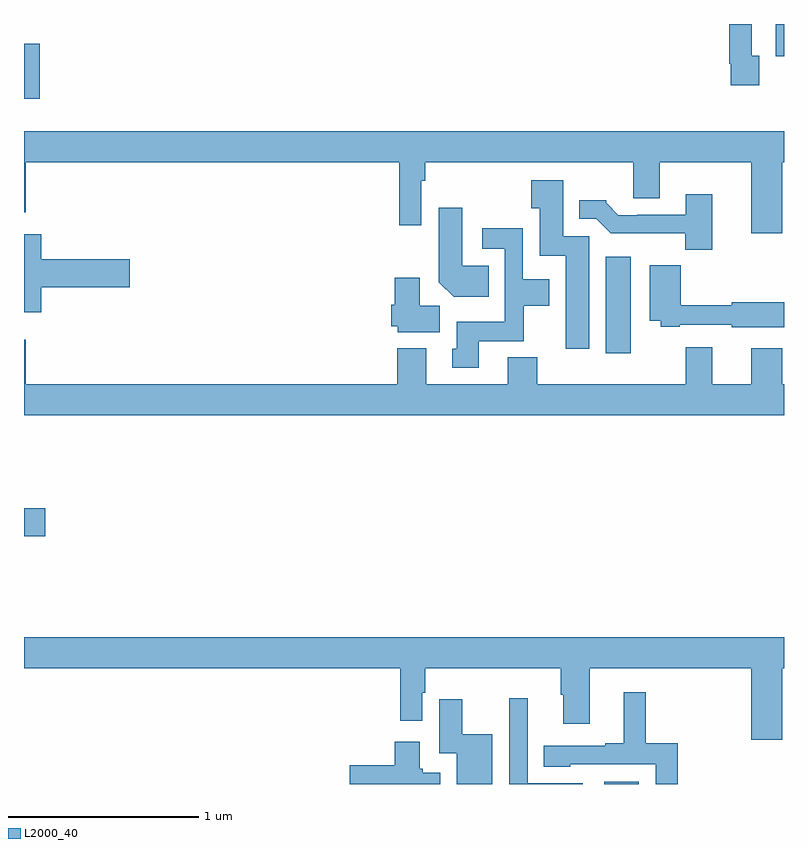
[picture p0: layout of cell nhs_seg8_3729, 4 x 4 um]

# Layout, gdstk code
import gdstk
lib = gdstk.Library(unit=1e-6, precision=1e-09)
def R(c, l, rs):  # rectangles x0, y0, x1, y1
    for r in rs: c.add(gdstk.rectangle(r[:2], r[2:], *l))
def P(c, l, *ps):  # polygons
    for p in ps: c.add(gdstk.Polygon(p, *l))
L2000_40 = (2000, 40)

nhs_seg8_3729 = lib.new_cell('nhs_seg8_3729')
R(nhs_seg8_3729, L2000_40, [(344.054,1107.9,344.236,1107.913), (341,1109.204,341.113,1109.351), (344.063,1110.168,344.194,1110.676), (341,1111.506,341.084,1111.795)])
P(nhs_seg8_3729, L2000_40, [(344.869,1111.734),(344.829,1111.734),(344.829,1111.9),(344.713,1111.9),(344.713,1111.69),(344.721,1111.69),(344.721,1111.578),(344.869,1111.578)],
  [(345,1111.9),(344.918,1111.9),(344.918,1111.898),(344.957,1111.898),(344.957,1111.73),(345,1111.73)],
  [(344.992,1111.172),(345,1111.172),(345,1111.336),(341,1111.336),(341,1110.909),(341.009,1110.909),(341.009,1111.172),(342.976,1111.172),(342.976,1110.84),(343.092,1110.84),(343.092,1111.076),(343.112,1111.076),(343.112,1111.172),(344.207,1111.172),(344.207,1110.982),(344.347,1110.982),(344.347,1111.172),(344.828,1111.172),(344.828,1110.798),(344.992,1110.798)],
  [(343.975,1110.783),(343.837,1110.783),(343.837,1111.078),(343.669,1111.078),(343.669,1110.931),(343.715,1110.931),(343.715,1110.68),(343.85,1110.68),(343.85,1110.192),(343.975,1110.192)],
  [(344.623,1111.003),(344.483,1111.003),(344.483,1110.897),(344.227,1110.897),(344.227,1110.894),(344.128,1110.894),(344.064,1110.958),(344.064,1110.973),(343.922,1110.973),(343.922,1110.876),(344.013,1110.876),(344.089,1110.8),(344.481,1110.8),(344.481,1110.713),(344.623,1110.713)],
  [(343.445,1110.628),(343.306,1110.628),(343.306,1110.934),(343.184,1110.934),(343.184,1110.542),(343.262,1110.464),(343.445,1110.464)],
  [(343.393,1110.23),(343.629,1110.23),(343.629,1110.416),(343.765,1110.416),(343.765,1110.556),(343.626,1110.556),(343.626,1110.826),(343.413,1110.826),(343.413,1110.717),(343.53,1110.717),(343.53,1110.334),(343.277,1110.334),(343.277,1110.192),(343.253,1110.192),(343.253,1110.09),(343.393,1110.09)],
  [(341.092,1110.515),(341.557,1110.515),(341.557,1110.662),(341.092,1110.662),(341.092,1110.793),(341,1110.793),(341,1110.383),(341.092,1110.383)],
  [(345,1110.435),(344.724,1110.435),(344.724,1110.419),(344.456,1110.419),(344.456,1110.631),(344.294,1110.631),(344.294,1110.338),(344.352,1110.338),(344.352,1110.306),(344.452,1110.306),(344.452,1110.318),(344.724,1110.318),(344.724,1110.305),(345,1110.305)],
  [(343.189,1110.416),(343.084,1110.416),(343.084,1110.565),(342.95,1110.565),(342.95,1110.423),(342.932,1110.423),(342.932,1110.309),(342.966,1110.309),(342.966,1110.278),(343.189,1110.278)],
  [(345,1110.004),(344.992,1110.004),(344.992,1110.193),(344.828,1110.193),(344.828,1110.004),(344.623,1110.004),(344.623,1110.199),(344.483,1110.199),(344.483,1110.004),(343.7,1110.004),(343.7,1110.145),(343.547,1110.145),(343.547,1110.004),(343.117,1110.004),(343.117,1110.193),(342.965,1110.193),(342.965,1110.004),(341.009,1110.004),(341.009,1110.238),(341,1110.238),(341,1109.84),(345,1109.84)],
  [(344.992,1108.508),(345,1108.508),(345,1108.672),(341,1108.672),(341,1108.508),(342.979,1108.508),(342.979,1108.233),(343.095,1108.233),(343.095,1108.379),(343.111,1108.379),(343.111,1108.508),(343.826,1108.508),(343.826,1108.371),(343.838,1108.371),(343.838,1108.218),(343.978,1108.218),(343.978,1108.508),(344.828,1108.508),(344.828,1108.134),(344.992,1108.134)],
  [(344.441,1108.114),(344.273,1108.114),(344.273,1108.384),(344.156,1108.384),(344.156,1108.114),(344.06,1108.114),(344.06,1108.101),(343.735,1108.101),(343.735,1107.992),(343.875,1107.992),(343.875,1108.005),(344.325,1108.005),(344.325,1107.9),(344.441,1107.9)],
  [(343.942,1107.903),(343.65,1107.903),(343.65,1108.351),(343.554,1108.351),(343.554,1107.9),(343.942,1107.9)],
  [(343.465,1108.162),(343.306,1108.162),(343.306,1108.345),(343.185,1108.345),(343.185,1108.061),(343.277,1108.061),(343.277,1107.9),(343.465,1107.9)],
  [(343.192,1107.958),(343.098,1107.958),(343.098,1107.981),(343.084,1107.981),(343.084,1108.123),(342.95,1108.123),(342.95,1107.998),(342.714,1107.998),(342.714,1107.9),(343.192,1107.9)])

lib.write_gds('nhs_seg8_3729.gds')
